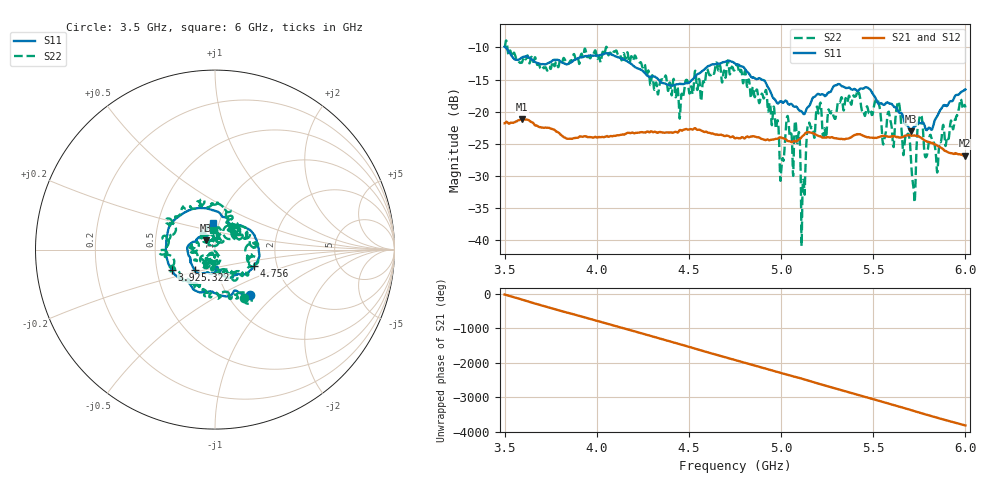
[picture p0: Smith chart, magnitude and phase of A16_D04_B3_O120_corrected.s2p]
! Created with skrf 1.9.0 (http://scikit-rf.org).
# Hz S RI R 50.0
!freq ReS11 ImS11 ReS21 ImS21 ReS12 ImS12 ReS22 ImS22
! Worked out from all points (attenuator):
!   1601 points, 3.5 GHz to 6 GHz, reference 50 ohm
!   highest |S21| = -21.17 dB at 3.594 GHz (marker M1); lowest = -26.9 dB at 5.998 GHz (marker M2)
!   lowest |S11| = -23.1 dB at 5.703 GHz (marker M3), VSWR 1.15, Z = 45.2 + j4.62 ohm
!   |S11| at or under -10 dB: 3.505 GHz to end of sweep
!   |S22| runs from -40.9 to -8.9 dB; largest |S21 - S12| = 0.0011
!   S11 on the Smith chart (normalised r, x): 3.5 GHz: 1.26, -0.71; 3.92 GHz: 0.60, -0.15; 4.756 GHz: 1.52, -0.29; 5.322 GHz: 0.78, -0.18; 6 GHz: 0.94, +0.28
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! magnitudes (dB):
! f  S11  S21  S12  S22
! 3.5 GHz  -9.9  -21.8  -21.8  -10.0
! 3.594 GHz  -11.6  -21.2  -21.2  -12.4
! 3.917 GHz  -11.5  -23.9  -23.9  -11.0
! 3.92 GHz  -11.5  -23.9  -23.9  -11.1
! 4.334 GHz  -15.0  -23.2  -23.1  -17.0
! 4.75 GHz  -12.5  -24.1  -24.0  -13.3
! 4.756 GHz  -12.6  -24.1  -24.1  -12.9
! 4.912 GHz  -15.3  -24.4  -24.3  -17.1
! 5.003 GHz  -18.5  -24.0  -24.1  -28.3
! 5.033 GHz  -18.5  -24.5  -24.4  -20.7
! 5.088 GHz  -19.4  -24.6  -24.5  -24.9
! 5.119 GHz  -20.2  -23.8  -23.7  -30.9
! 5.167 GHz  -18.1  -23.3  -23.2  -22.5
! 5.322 GHz  -15.8  -24.2  -24.2  -18.4
! 5.584 GHz  -18.7  -23.9  -23.8  -20.0
! 5.638 GHz  -20.0  -24.0  -23.9  -18.4
! 5.703 GHz  -23.1  -23.7  -23.7  -26.6
! 5.719 GHz  -22.4  -23.7  -23.6  -32.1
! 5.753 GHz  -21.8  -24.0  -23.9  -20.8
! 5.847 GHz  -20.7  -25.3  -25.2  -29.5
! 5.998 GHz  -16.6  -26.9  -26.8  -19.1
! 6 GHz  -16.5  -26.8  -26.8  -19.3
